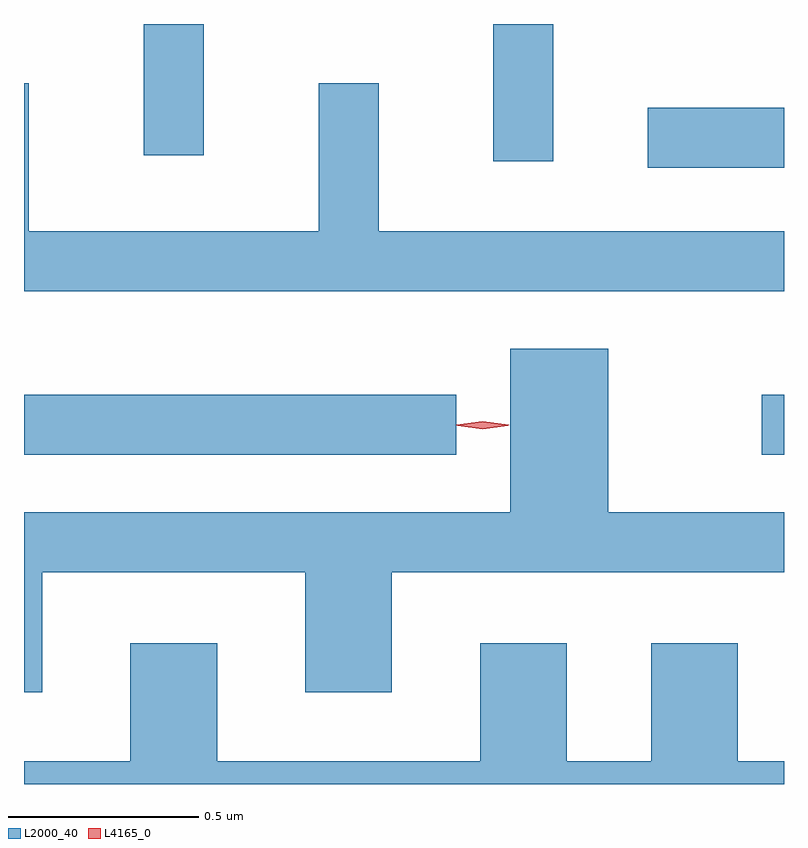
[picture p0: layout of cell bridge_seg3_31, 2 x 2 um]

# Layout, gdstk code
import gdstk
lib = gdstk.Library(unit=1e-6, precision=1e-09)
def R(c, l, rs):  # rectangles x0, y0, x1, y1
    for r in rs: c.add(gdstk.rectangle(r[:2], r[2:], *l))
def P(c, l, *ps):  # polygons
    for p in ps: c.add(gdstk.Polygon(p, *l))
L2000_40 = (2000, 40)
L4165_0 = (4165, 0)

bridge_seg3_31 = lib.new_cell('bridge_seg3_31')
R(bridge_seg3_31, L2000_40, [(1327.971,1162.611,1329.108,1162.769), (1329.913,1162.611,1329.971,1162.769), (1329.613,1163.366,1329.971,1163.524), (1329.206,1163.383,1329.364,1163.744), (1328.286,1163.398,1328.444,1163.744)])
P(bridge_seg3_31, L2000_40, [(1329.971,1163.199),(1328.904,1163.199),(1328.904,1163.588),(1328.746,1163.588),(1328.746,1163.199),(1327.984,1163.199),(1327.984,1163.588),(1327.971,1163.588),(1327.971,1163.041),(1329.971,1163.041)],
  [(1328.019,1162.301),(1328.711,1162.301),(1328.711,1161.986),(1328.939,1161.986),(1328.939,1162.301),(1329.971,1162.301),(1329.971,1162.459),(1329.509,1162.459),(1329.509,1162.889),(1329.251,1162.889),(1329.251,1162.459),(1327.971,1162.459),(1327.971,1161.986),(1328.019,1161.986)],
  [(1329.971,1161.804),(1329.849,1161.804),(1329.849,1162.114),(1329.621,1162.114),(1329.621,1161.804),(1329.399,1161.804),(1329.399,1162.114),(1329.171,1162.114),(1329.171,1161.804),(1328.479,1161.804),(1328.479,1162.114),(1328.251,1162.114),(1328.251,1161.804),(1327.971,1161.804),(1327.971,1161.744),(1329.971,1161.744)])
P(bridge_seg3_31, L4165_0, [(1329.178,1162.678),(1329.109,1162.688),(1329.109,1162.688),(1329.109,1162.689),(1329.178,1162.698),(1329.246,1162.689),(1329.247,1162.688),(1329.246,1162.688)],
  [(1329.178,1162.677),(1329.113,1162.687),(1329.112,1162.687),(1329.113,1162.688),(1329.178,1162.697),(1329.244,1162.688),(1329.244,1162.687),(1329.244,1162.687)])

lib.write_gds('bridge_seg3_31.gds')
